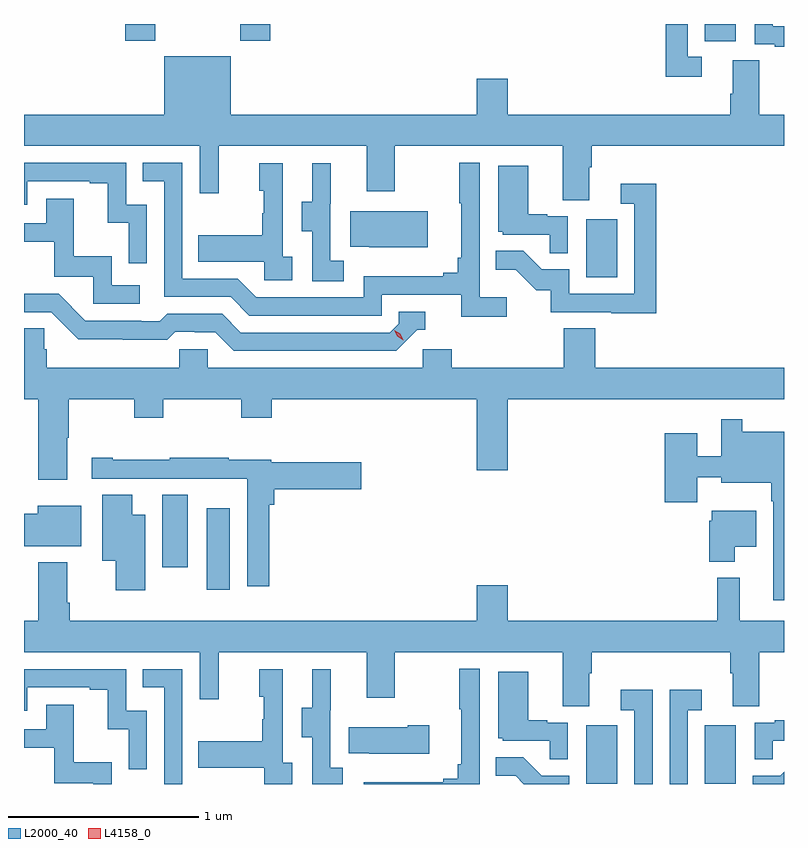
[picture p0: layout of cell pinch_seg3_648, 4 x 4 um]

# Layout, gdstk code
import gdstk
lib = gdstk.Library(unit=1e-6, precision=1e-09)
def R(c, l, rs):  # rectangles x0, y0, x1, y1
    for r in rs: c.add(gdstk.rectangle(r[:2], r[2:], *l))
def P(c, l, *ps):  # polygons
    for p in ps: c.add(gdstk.Polygon(p, *l))
L2000_40 = (2000, 40)
L4158_0 = (4158, 0)

pinch_seg3_648 = lib.new_cell('pinch_seg3_648')
R(pinch_seg3_648, L2000_40, [(1064.684,677.58,1064.848,677.887), (1065.308,677.58,1065.472,677.887), (1062.686,678.6,1062.808,679.03), (1062.452,678.72,1062.586,679.1), (1064.684,680.244,1064.848,680.551), (1065.308,681.486,1065.472,681.578), (1062.257,681.489,1062.417,681.578), (1062.862,681.489,1063.022,681.578)])
P(pinch_seg3_648, L2000_40, [(1065.725,681.567),(1065.665,681.567),(1065.665,681.578),(1065.57,681.578),(1065.57,681.471),(1065.677,681.471),(1065.677,681.459),(1065.725,681.459)],
  [(1065.292,681.405),(1065.219,681.405),(1065.219,681.578),(1065.103,681.578),(1065.103,681.3),(1065.292,681.3)],
  [(1064.701,680.824),(1064.714,680.824),(1064.714,680.936),(1065.725,680.936),(1065.725,681.1),(1065.595,681.1),(1065.595,681.386),(1065.455,681.386),(1065.455,681.212),(1065.443,681.212),(1065.443,681.1),(1064.272,681.1),(1064.272,681.289),(1064.108,681.289),(1064.108,681.1),(1062.814,681.1),(1062.814,681.409),(1062.464,681.409),(1062.464,681.1),(1061.725,681.1),(1061.725,680.936),(1062.651,680.936),(1062.651,680.688),(1062.749,680.688),(1062.749,680.936),(1063.529,680.936),(1063.529,680.697),(1063.677,680.697),(1063.677,680.936),(1064.561,680.936),(1064.561,680.65),(1064.701,680.65)],
  [(1064.266,680.14),(1064.124,680.14),(1064.124,680.848),(1064.016,680.848),(1064.016,680.635),(1064.027,680.635),(1064.027,680.347),(1064.008,680.347),(1064.008,680.27),(1063.931,680.27),(1063.931,680.251),(1063.512,680.251),(1063.512,680.139),(1062.948,680.139),(1062.849,680.238),(1062.558,680.238),(1062.558,680.847),(1062.349,680.847),(1062.349,680.751),(1062.462,680.751),(1062.462,680.142),(1062.812,680.142),(1062.911,680.043),(1063.608,680.043),(1063.608,680.154),(1064.027,680.154),(1064.027,680.038),(1064.266,680.038)],
  [(1062.372,680.628),(1062.264,680.628),(1062.264,680.847),(1061.725,680.847),(1061.725,680.628),(1061.742,680.628),(1061.742,680.751),(1062.071,680.751),(1062.071,680.739),(1062.167,680.739),(1062.167,680.531),(1062.276,680.531),(1062.276,680.319),(1062.372,680.319)],
  [(1063.408,680.331),(1063.338,680.331),(1063.338,680.631),(1063.34,680.631),(1063.34,680.845),(1063.241,680.845),(1063.241,680.643),(1063.187,680.643),(1063.187,680.488),(1063.242,680.488),(1063.242,680.224),(1063.408,680.224)],
  [(1063.138,680.354),(1063.086,680.354),(1063.086,680.845),(1062.962,680.845),(1062.962,680.7),(1062.988,680.7),(1062.988,680.582),(1062.978,680.582),(1062.978,680.467),(1062.643,680.467),(1062.643,680.327),(1062.99,680.327),(1062.99,680.229),(1063.138,680.229)],
  [(1064.586,680.565),(1064.48,680.565),(1064.48,680.578),(1064.38,680.578),(1064.38,680.833),(1064.222,680.833),(1064.222,680.484),(1064.244,680.484),(1064.244,680.469),(1064.491,680.469),(1064.491,680.371),(1064.586,680.371)],
  [(1065.053,680.737),(1064.865,680.737),(1064.865,680.631),(1064.937,680.631),(1064.937,680.157),(1064.595,680.157),(1064.595,680.286),(1064.451,680.286),(1064.353,680.384),(1064.209,680.384),(1064.209,680.285),(1064.313,680.285),(1064.42,680.178),(1064.497,680.178),(1064.497,680.061),(1064.815,680.061),(1064.815,680.056),(1065.053,680.056)],
  [(1062.334,680.202),(1062.186,680.202),(1062.186,680.356),(1061.987,680.356),(1061.987,680.659),(1061.843,680.659),(1061.843,680.529),(1061.725,680.529),(1061.725,680.433),(1061.885,680.433),(1061.885,680.247),(1062.09,680.247),(1062.09,680.106),(1062.334,680.106)],
  [(1063.849,680.593),(1063.441,680.593),(1063.441,680.405),(1063.543,680.405),(1063.543,680.402),(1063.849,680.402)],
  [(1063.794,679.968),(1063.837,679.968),(1063.837,680.064),(1063.698,680.064),(1063.698,680.001),(1063.65,679.953),(1062.867,679.953),(1062.768,680.052),(1062.479,680.052),(1062.44,680.013),(1062.341,680.013),(1062.341,680.016),(1062.048,680.016),(1061.907,680.157),(1061.725,680.157),(1061.725,680.061),(1061.868,680.061),(1062.01,679.919),(1062.246,679.919),(1062.246,679.917),(1062.479,679.917),(1062.521,679.959),(1062.624,679.959),(1062.624,679.956),(1062.731,679.956),(1062.83,679.857),(1063.683,679.857)],
  [(1061.953,679.4),(1061.961,679.4),(1061.961,679.604),(1062.304,679.604),(1062.304,679.505),(1062.459,679.505),(1062.459,679.604),(1062.868,679.604),(1062.868,679.505),(1063.028,679.505),(1063.028,679.604),(1064.108,679.604),(1064.108,679.23),(1064.272,679.23),(1064.272,679.604),(1065.725,679.604),(1065.725,679.768),(1064.732,679.768),(1064.732,679.976),(1064.567,679.976),(1064.567,679.768),(1063.976,679.768),(1063.976,679.866),(1063.824,679.866),(1063.824,679.768),(1062.693,679.768),(1062.693,679.866),(1062.543,679.866),(1062.543,679.768),(1061.846,679.768),(1061.846,679.866),(1061.831,679.866),(1061.831,679.976),(1061.725,679.976),(1061.725,679.604),(1061.801,679.604),(1061.801,679.179),(1061.953,679.179)],
  [(1065.725,679.432),(1065.505,679.432),(1065.505,679.498),(1065.396,679.498),(1065.396,679.303),(1065.268,679.303),(1065.268,679.423),(1065.098,679.423),(1065.098,679.062),(1065.268,679.062),(1065.268,679.193),(1065.395,679.193),(1065.395,679.163),(1065.657,679.163),(1065.657,679.067),(1065.669,679.067),(1065.669,678.546),(1065.725,678.546)],
  [(1063.016,679.049),(1063.043,679.049),(1063.043,679.13),(1063.501,679.13),(1063.501,679.272),(1063.026,679.272),(1063.026,679.284),(1062.803,679.284),(1062.803,679.294),(1062.493,679.294),(1062.493,679.284),(1062.193,679.284),(1062.193,679.294),(1062.081,679.294),(1062.081,679.185),(1062.69,679.185),(1062.69,679.184),(1062.9,679.184),(1062.9,678.618),(1063.016,678.618)],
  [(1062.364,678.994),(1062.295,678.994),(1062.295,679.1),(1062.137,679.1),(1062.137,678.752),(1062.209,678.752),(1062.209,678.597),(1062.364,678.597)],
  [(1062.025,679.042),(1061.798,679.042),(1061.798,679.001),(1061.725,679.001),(1061.725,678.83),(1062.025,678.83)],
  [(1065.466,678.827),(1065.58,678.827),(1065.58,679.015),(1065.344,679.015),(1065.344,678.963),(1065.332,678.963),(1065.332,678.749),(1065.466,678.749)],
  [(1064.701,678.16),(1064.714,678.16),(1064.714,678.272),(1065.443,678.272),(1065.443,678.16),(1065.455,678.16),(1065.455,677.986),(1065.595,677.986),(1065.595,678.272),(1065.725,678.272),(1065.725,678.436),(1065.491,678.436),(1065.491,678.664),(1065.373,678.664),(1065.373,678.436),(1064.272,678.436),(1064.272,678.625),(1064.108,678.625),(1064.108,678.436),(1061.966,678.436),(1061.966,678.532),(1061.953,678.532),(1061.953,678.745),(1061.801,678.745),(1061.801,678.436),(1061.725,678.436),(1061.725,678.272),(1062.651,678.272),(1062.651,678.024),(1062.749,678.024),(1062.749,678.272),(1063.529,678.272),(1063.529,678.033),(1063.677,678.033),(1063.677,678.272),(1064.561,678.272),(1064.561,677.986),(1064.701,677.986)],
  [(1064.124,678.184),(1064.016,678.184),(1064.016,677.971),(1064.027,677.971),(1064.027,677.683),(1064.008,677.683),(1064.008,677.606),(1063.931,677.606),(1063.931,677.587),(1063.512,677.587),(1063.512,677.578),(1064.124,677.578)],
  [(1062.372,677.964),(1062.264,677.964),(1062.264,678.183),(1061.725,678.183),(1061.725,677.964),(1061.742,677.964),(1061.742,678.087),(1062.071,678.087),(1062.071,678.075),(1062.167,678.075),(1062.167,677.867),(1062.276,677.867),(1062.276,677.655),(1062.372,677.655)],
  [(1062.558,678.183),(1062.349,678.183),(1062.349,678.087),(1062.462,678.087),(1062.462,677.578),(1062.558,677.578)],
  [(1063.138,677.69),(1063.086,677.69),(1063.086,678.181),(1062.962,678.181),(1062.962,678.036),(1062.988,678.036),(1062.988,677.918),(1062.978,677.918),(1062.978,677.803),(1062.643,677.803),(1062.643,677.663),(1062.99,677.663),(1062.99,677.578),(1063.138,677.578)],
  [(1063.402,677.663),(1063.338,677.663),(1063.338,677.967),(1063.34,677.967),(1063.34,678.181),(1063.241,678.181),(1063.241,677.979),(1063.187,677.979),(1063.187,677.824),(1063.242,677.824),(1063.242,677.578),(1063.402,677.578)],
  [(1064.586,677.901),(1064.48,677.901),(1064.48,677.914),(1064.38,677.914),(1064.38,678.169),(1064.222,678.169),(1064.222,677.82),(1064.244,677.82),(1064.244,677.805),(1064.491,677.805),(1064.491,677.707),(1064.586,677.707)],
  [(1065.033,678.073),(1064.865,678.073),(1064.865,677.967),(1064.937,677.967),(1064.937,677.578),(1065.033,677.578)],
  [(1065.219,677.967),(1065.292,677.967),(1065.292,678.073),(1065.123,678.073),(1065.123,677.578),(1065.219,677.578)],
  [(1062.186,677.692),(1061.987,677.692),(1061.987,677.995),(1061.843,677.995),(1061.843,677.865),(1061.725,677.865),(1061.725,677.769),(1061.885,677.769),(1061.885,677.583),(1062.09,677.583),(1062.09,677.578),(1062.186,677.578)],
  [(1065.665,677.805),(1065.725,677.805),(1065.725,677.914),(1065.677,677.914),(1065.677,677.901),(1065.57,677.901),(1065.57,677.707),(1065.665,677.707)],
  [(1063.858,677.886),(1063.745,677.886),(1063.745,677.878),(1063.435,677.878),(1063.435,677.741),(1063.543,677.741),(1063.543,677.738),(1063.858,677.738)],
  [(1064.595,677.622),(1064.451,677.622),(1064.353,677.72),(1064.209,677.72),(1064.209,677.621),(1064.313,677.621),(1064.356,677.578),(1064.595,677.578)],
  [(1065.725,677.642),(1065.705,677.622),(1065.561,677.622),(1065.561,677.578),(1065.725,677.578)])
P(pinch_seg3_648, L4158_0, [(1063.72,679.914),(1063.689,679.934),(1063.674,679.967),(1063.674,679.967),(1063.674,679.967),(1063.705,679.947),(1063.72,679.914),(1063.72,679.914)])

lib.write_gds('pinch_seg3_648.gds')
